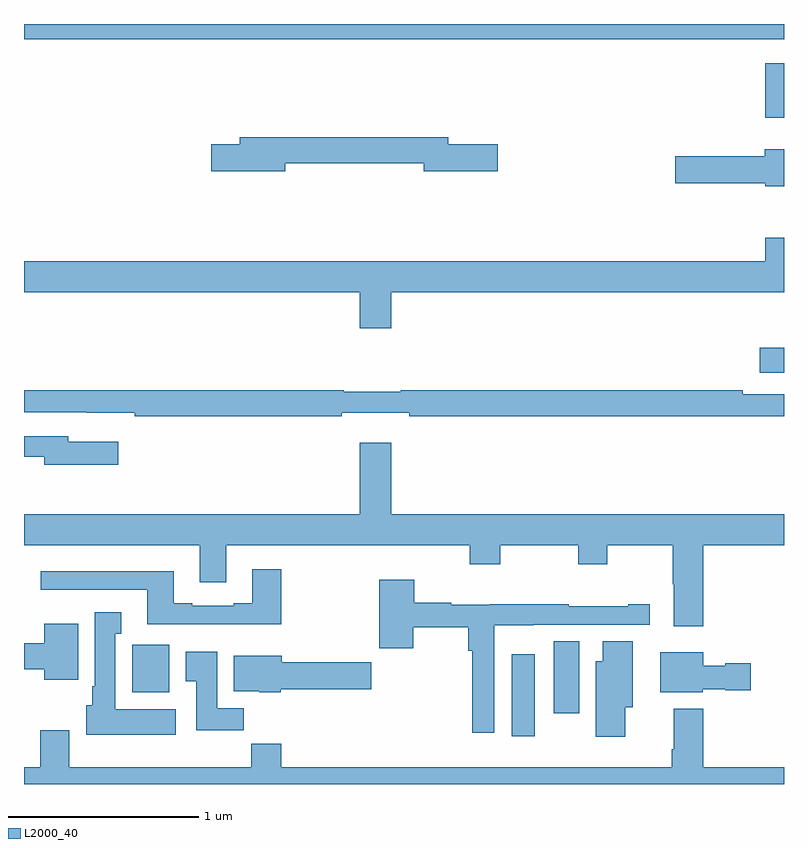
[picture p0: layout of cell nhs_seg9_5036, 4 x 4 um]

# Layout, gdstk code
import gdstk
lib = gdstk.Library(unit=1e-6, precision=1e-09)
def R(c, l, rs):  # rectangles x0, y0, x1, y1
    for r in rs: c.add(gdstk.rectangle(r[:2], r[2:], *l))
def P(c, l, *ps):  # polygons
    for p in ps: c.add(gdstk.Polygon(p, *l))
L2000_40 = (2000, 40)

nhs_seg9_5036 = lib.new_cell('nhs_seg9_5036')
R(nhs_seg9_5036, L2000_40, [(405.566,1192.752,405.688,1193.182), (405.788,1192.872,405.922,1193.252), (403.569,1192.982,403.765,1193.232), (406.872,1194.665,407,1194.795), (406.901,1196.006,407,1196.293), (403,1196.42,407,1196.5)])
P(nhs_seg9_5036, L2000_40, [(404.374,1195.768),(405.104,1195.768),(405.104,1195.726),(405.493,1195.726),(405.493,1195.868),(405.232,1195.868),(405.232,1195.904),(404.135,1195.904),(404.135,1195.868),(403.986,1195.868),(403.986,1195.726),(404.374,1195.726)],
  [(407,1195.84),(406.898,1195.84),(406.898,1195.805),(406.428,1195.805),(406.428,1195.663),(406.902,1195.663),(406.902,1195.646),(407,1195.646)],
  [(404.932,1195.088),(407,1195.088),(407,1195.376),(406.901,1195.376),(406.901,1195.252),(403,1195.252),(403,1195.088),(404.768,1195.088),(404.768,1194.9),(404.932,1194.9)],
  [(404.672,1194.455),(405.028,1194.455),(405.028,1194.436),(407,1194.436),(407,1194.552),(406.784,1194.552),(406.784,1194.572),(404.984,1194.572),(404.984,1194.565),(404.684,1194.565),(404.684,1194.572),(403,1194.572),(403,1194.456),(403.33,1194.456),(403.33,1194.455),(403.582,1194.455),(403.582,1194.436),(404.672,1194.436)],
  [(403.495,1194.301),(403.234,1194.301),(403.234,1194.33),(403,1194.33),(403,1194.222),(403.106,1194.222),(403.106,1194.179),(403.495,1194.179)],
  [(406.574,1193.756),(407,1193.756),(407,1193.92),(404.932,1193.92),(404.932,1194.295),(404.768,1194.295),(404.768,1193.92),(403,1193.92),(403,1193.756),(403.925,1193.756),(403.925,1193.562),(404.065,1193.562),(404.065,1193.756),(405.347,1193.756),(405.347,1193.657),(405.507,1193.657),(405.507,1193.756),(405.916,1193.756),(405.916,1193.657),(406.071,1193.657),(406.071,1193.756),(406.414,1193.756),(406.414,1193.552),(406.421,1193.552),(406.421,1193.331),(406.574,1193.331)],
  [(404.354,1193.629),(404.201,1193.629),(404.201,1193.452),(404.105,1193.452),(404.105,1193.439),(403.885,1193.439),(403.885,1193.452),(403.789,1193.452),(403.789,1193.62),(403.089,1193.62),(403.089,1193.523),(403.649,1193.523),(403.649,1193.342),(404.354,1193.342)],
  [(405.474,1193.336),(405.684,1193.336),(405.684,1193.337),(406.294,1193.337),(406.294,1193.446),(406.181,1193.446),(406.181,1193.436),(405.866,1193.436),(405.866,1193.446),(405.45,1193.446),(405.45,1193.444),(405.248,1193.444),(405.248,1193.455),(405.053,1193.455),(405.053,1193.575),(404.87,1193.575),(404.87,1193.214),(405.048,1193.214),(405.048,1193.326),(405.337,1193.326),(405.337,1193.201),(405.358,1193.201),(405.358,1192.77),(405.474,1192.77)],
  [(403.798,1192.894),(403.48,1192.894),(403.48,1193.291),(403.513,1193.291),(403.513,1193.404),(403.373,1193.404),(403.373,1193.014),(403.358,1193.014),(403.358,1192.914),(403.328,1192.914),(403.328,1192.76),(403.798,1192.76)],
  [(403.285,1193.344),(403.106,1193.344),(403.106,1193.24),(403,1193.24),(403,1193.104),(403.106,1193.104),(403.106,1193.048),(403.285,1193.048)],
  [(406.165,1192.904),(406.204,1192.904),(406.204,1193.252),(406.046,1193.252),(406.046,1193.146),(406.01,1193.146),(406.01,1192.749),(406.165,1192.749)],
  [(404.156,1192.9),(404.017,1192.9),(404.017,1193.197),(403.85,1193.197),(403.85,1193.041),(403.907,1193.041),(403.907,1192.782),(404.156,1192.782)],
  [(406.572,1193),(406.692,1193),(406.692,1192.993),(406.825,1192.993),(406.825,1193.135),(406.692,1193.135),(406.692,1193.122),(406.576,1193.122),(406.576,1193.194),(406.349,1193.194),(406.349,1192.982),(406.572,1192.982)],
  [(404.352,1192.999),(404.827,1192.999),(404.827,1193.141),(404.356,1193.141),(404.356,1193.176),(404.105,1193.176),(404.105,1192.988),(404.238,1192.988),(404.238,1192.982),(404.352,1192.982)],
  [(407,1192.588),(406.574,1192.588),(406.574,1192.897),(406.421,1192.897),(406.421,1192.684),(406.409,1192.684),(406.409,1192.588),(404.354,1192.588),(404.354,1192.712),(404.197,1192.712),(404.197,1192.588),(403.237,1192.588),(403.237,1192.783),(403.085,1192.783),(403.085,1192.588),(403,1192.588),(403,1192.5),(407,1192.5)])

lib.write_gds('nhs_seg9_5036.gds')
